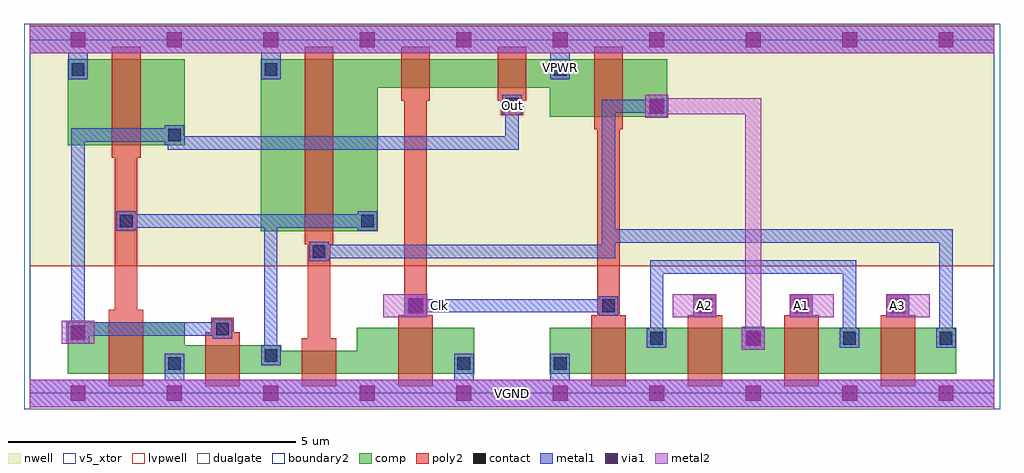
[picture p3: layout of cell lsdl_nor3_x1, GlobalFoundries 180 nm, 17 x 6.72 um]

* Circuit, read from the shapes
.subckt lsdl_nor3_x1 A1 A2 A3 Clk Out VGND VPWR
XM1 VGND n1 Out VSUBS nfet_05v0 w=0.9u l=0.6u
XM2 n1 Out VGND VSUBS nfet_05v0 w=0.5u l=0.6u
XM3 n2 n3 n1 VSUBS nfet_05v0 w=0.4u l=0.6u
XM4 VGND Clk n2 VSUBS nfet_05v0 w=0.8u l=0.6u
XM5 n4 Clk VGND VSUBS nfet_05v0 w=0.8u l=0.6u
XM6 n3 A2 n4 VSUBS nfet_05v0 w=0.8u l=0.6u
XM7 n4 A1 n3 VSUBS nfet_05v0 w=0.8u l=0.6u
XM8 n3 A3 n4 VSUBS nfet_05v0 w=0.8u l=0.6u
XM9 Out n1 VPWR n5 pfet_05v0 w=1.5u l=0.5u
XM10 n1 n3 VPWR n5 pfet_05v0 w=3u l=0.5u
XM11 n6 Clk n1 n5 pfet_05v0 w=0.5u l=0.5u
XM12 VPWR Out n6 n5 pfet_05v0 w=0.5u l=0.5u
XM13 n3 Clk VPWR n5 pfet_05v0 w=1u l=0.5u
.ends

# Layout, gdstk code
import gdstk
lib = gdstk.Library(unit=1e-6, precision=1e-09)
def R(c, l, rs):  # rectangles x0, y0, x1, y1
    for r in rs: c.add(gdstk.rectangle(r[:2], r[2:], *l))
def A(c, l, x, y, w, h, nx, ny, dx, dy):  # array of equal rectangles
    R(c, l, [(x+i*dx, y+j*dy, x+i*dx+w, y+j*dy+h) for i in range(nx) for j in range(ny)])
def P(c, l, *ps):  # polygons
    for p in ps: c.add(gdstk.Polygon(p, *l))
nwell = (21, 0)
comp = (22, 0)
poly2 = (30, 0)
contact = (33, 0)
metal1 = (34, 0)
via1 = (35, 0)
metal2 = (36, 0)
dualgate = (55, 0)
boundary2 = (63, 0)
v5_xtor = (112, 1)
lvpwell = (204, 0)

lsdl_nor3_x1 = lib.new_cell('lsdl_nor3_x1')
R(lsdl_nor3_x1, nwell, [(0,2.22,16.8,6.42)])
R(lsdl_nor3_x1, comp, [(9.06,0.34,16.14,1.14), (0.66,4.32,2.7,5.82)])
P(lsdl_nor3_x1, comp, [(0.66,0.34),(0.66,1.24),(2.7,1.24),(2.7,0.84),(4.38,0.84),(4.38,0.74),(5.7,0.74),(5.7,1.14),(7.74,1.14),(7.74,0.34)],
  [(4.02,2.82),(4.02,5.82),(11.1,5.82),(11.1,4.82),(9.06,4.82),(9.06,5.32),(6.06,5.32),(6.06,2.82)])
P(lsdl_nor3_x1, poly2, [(3.06,0.12),(3.06,1.06),(3.165,1.06),(3.165,1.315),(3.555,1.315),(3.555,1.06),(3.66,1.06),(3.66,0.12)],
  [(11.46,0.12),(11.46,1.36),(11.565,1.36),(11.565,1.72),(11.955,1.72),(11.955,1.36),(12.06,1.36),(12.06,0.12)],
  [(13.14,0.12),(13.14,1.36),(13.245,1.36),(13.245,1.72),(13.635,1.72),(13.635,1.36),(13.74,1.36),(13.74,0.12)],
  [(14.82,0.12),(14.82,1.36),(14.925,1.36),(14.925,1.72),(15.315,1.72),(15.315,1.36),(15.42,1.36),(15.42,0.12)],
  [(1.38,0.12),(1.38,1.46),(1.485,1.46),(1.485,4.1),(1.43,4.1),(1.43,6.04),(1.93,6.04),(1.93,4.1),(1.875,4.1),(1.875,1.46),(1.98,1.46),(1.98,0.12)],
  [(4.74,0.12),(4.74,0.96),(4.845,0.96),(4.845,2.6),(4.79,2.6),(4.79,6.04),(5.29,6.04),(5.29,2.6),(5.235,2.6),(5.235,0.96),(5.34,0.96),(5.34,0.12)],
  [(6.42,0.12),(6.42,1.36),(6.525,1.36),(6.525,5.1),(6.47,5.1),(6.47,6.04),(6.97,6.04),(6.97,5.1),(6.915,5.1),(6.915,1.36),(7.02,1.36),(7.02,0.12)],
  [(8.205,4.84),(8.205,5.1),(8.15,5.1),(8.15,6.04),(8.65,6.04),(8.65,5.1),(8.595,5.1),(8.595,4.84)],
  [(9.78,0.12),(9.78,1.36),(9.885,1.36),(9.885,4.6),(9.83,4.6),(9.83,6.04),(10.33,6.04),(10.33,4.6),(10.275,4.6),(10.275,1.36),(10.38,1.36),(10.38,0.12)])
A(lsdl_nor3_x1, contact, 10.81, 0.85, 0.22, 0.22, 4, 1, 1.68, 0)
A(lsdl_nor3_x1, contact, 9.97, 1.415, 0.22, 0.22, 4, 1, 1.68, 0)
R(lsdl_nor3_x1, contact, [(2.41,0.41,2.63,0.63), (7.45,0.41,7.67,0.63), (9.13,0.41,9.35,0.63), (4.09,0.55,4.31,0.77), (0.73,0.95,0.95,1.17), (3.25,1.01,3.47,1.23), (6.61,1.415,6.83,1.635), (4.93,2.36,5.15,2.58), (1.57,2.89,1.79,3.11), (5.77,2.89,5.99,3.11), (2.41,4.39,2.63,4.61), (10.81,4.89,11.03,5.11), (8.29,4.925,8.51,5.145), (0.73,5.53,0.95,5.75), (4.09,5.53,4.31,5.75), (9.13,5.53,9.35,5.75)])
A(lsdl_nor3_x1, metal1, 11.56, 1.325, 0.4, 0.4, 3, 1, 1.68, 0)
R(lsdl_nor3_x1, metal1, [(12.4,0.76,12.8,1.16)])
P(lsdl_nor3_x1, metal1, [(0,-0.24),(0,0.24),(2.35,0.24),(2.35,0.69),(2.69,0.69),(2.69,0.24),(7.39,0.24),(7.39,0.69),(7.73,0.69),(7.73,0.24),(9.07,0.24),(9.07,0.69),(9.41,0.69),(9.41,0.24),(16.8,0.24),(16.8,-0.24)],
  [(6.52,1.325),(6.52,1.725),(6.92,1.725),(6.92,1.64),(9.91,1.64),(9.91,1.695),(10.25,1.695),(10.25,1.355),(9.91,1.355),(9.91,1.41),(6.92,1.41),(6.92,1.325)],
  [(10.75,0.79),(10.75,1.13),(10.805,1.13),(10.805,2.315),(14.395,2.315),(14.395,1.13),(14.45,1.13),(14.45,0.79),(14.11,0.79),(14.11,1.13),(14.165,1.13),(14.165,2.085),(11.035,2.085),(11.035,1.13),(11.09,1.13),(11.09,0.79)],
  [(4.03,0.49),(4.03,0.83),(4.085,0.83),(4.085,2.885),(1.85,2.885),(1.85,2.83),(1.51,2.83),(1.51,3.17),(1.85,3.17),(1.85,3.115),(5.71,3.115),(5.71,3.17),(6.05,3.17),(6.05,2.83),(5.71,2.83),(5.71,2.885),(4.315,2.885),(4.315,0.83),(4.37,0.83),(4.37,0.49)],
  [(15.79,0.79),(15.79,1.13),(15.845,1.13),(15.845,2.625),(10.195,2.625),(10.195,2.355),(5.21,2.355),(5.21,2.3),(4.87,2.3),(4.87,2.64),(5.21,2.64),(5.21,2.585),(9.965,2.585),(9.965,5.115),(10.72,5.115),(10.72,5.2),(11.12,5.2),(11.12,4.8),(10.72,4.8),(10.72,4.885),(10.195,4.885),(10.195,2.855),(16.075,2.855),(16.075,1.13),(16.13,1.13),(16.13,0.79)],
  [(0.64,0.86),(0.64,1.26),(0.725,1.26),(0.725,4.615),(2.35,4.615),(2.35,4.67),(2.69,4.67),(2.69,4.475),(8.285,4.475),(8.285,4.865),(8.23,4.865),(8.23,5.205),(8.57,5.205),(8.57,4.865),(8.515,4.865),(8.515,4.245),(2.405,4.245),(2.405,4.33),(2.35,4.33),(2.35,4.385),(0.955,4.385),(0.955,1.26),(1.04,1.26),(1.04,1.235),(3.19,1.235),(3.19,1.29),(3.53,1.29),(3.53,0.95),(3.19,0.95),(3.19,1.005),(1.04,1.005),(1.04,0.86)],
  [(0.67,5.47),(0.67,5.92),(0,5.92),(0,6.4),(16.8,6.4),(16.8,5.92),(9.41,5.92),(9.41,5.47),(9.07,5.47),(9.07,5.92),(4.37,5.92),(4.37,5.47),(4.03,5.47),(4.03,5.92),(1.01,5.92),(1.01,5.47)])
A(lsdl_nor3_x1, via1, 0.71, -0.13, 0.26, 0.26, 10, 2, 1.68, 6.16)
A(lsdl_nor3_x1, via1, 11.63, 1.395, 0.26, 0.26, 3, 1, 1.68, 0)
R(lsdl_nor3_x1, via1, [(12.47,0.83,12.73,1.09), (0.71,0.93,0.97,1.19), (6.59,1.395,6.85,1.655), (10.79,4.87,11.05,5.13)])
R(lsdl_nor3_x1, metal2, [(0,-0.24,16.8,0.24), (0.56,0.86,1.12,1.26), (6.16,1.325,6.92,1.725), (11.2,1.325,11.96,1.725), (13.24,1.325,14,1.725), (14.92,1.325,15.68,1.725), (0,5.92,16.8,6.4)])
P(lsdl_nor3_x1, metal2, [(12.4,0.76),(12.4,1.16),(12.46,1.16),(12.46,4.86),(11.12,4.86),(11.12,4.8),(10.72,4.8),(10.72,5.2),(11.12,5.2),(11.12,5.14),(12.74,5.14),(12.74,1.16),(12.8,1.16),(12.8,0.76)])
R(lsdl_nor3_x1, dualgate, [(0,-0.28,16.8,6.44)])
R(lsdl_nor3_x1, boundary2, [(0,0,16.8,6.16)])
R(lsdl_nor3_x1, v5_xtor, [(-0.1,-0.28,16.9,6.44)])
R(lsdl_nor3_x1, lvpwell, [(0,0,16.8,2.22)])
lsdl_nor3_x1.add(gdstk.Label('A1', (13.44,1.527), layer=34, texttype=0))
lsdl_nor3_x1.add(gdstk.Label('A2', (11.76,1.527), layer=34, texttype=0))
lsdl_nor3_x1.add(gdstk.Label('A3', (15.12,1.527), layer=34, texttype=0))
lsdl_nor3_x1.add(gdstk.Label('Clk', (7.14,1.527), layer=34, texttype=0))
lsdl_nor3_x1.add(gdstk.Label('Out', (8.4,5.018), layer=34, texttype=0))
lsdl_nor3_x1.add(gdstk.Label('VPWR', (9.24,5.676), layer=34, texttype=0))
lsdl_nor3_x1.add(gdstk.Label('VGND', (8.4,0), layer=34, texttype=0))

lib.write_gds('lsdl_nor3_x1.gds')
